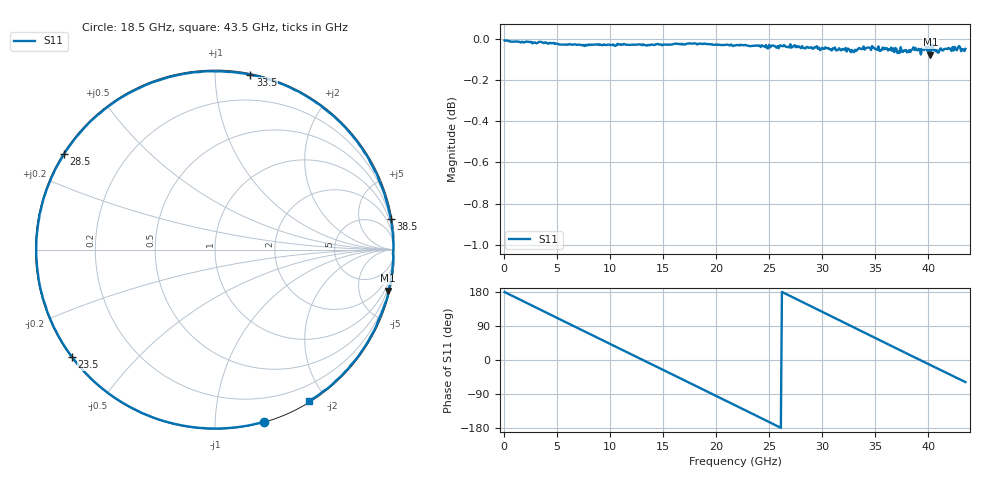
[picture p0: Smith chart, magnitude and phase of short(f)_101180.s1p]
# Hz S RI R 50.000000
! Metas.Vna.Data, 2.4.7734.25685
! Created: UTC 2023.03.21 14:20:05
! FREQ  re:S1,1  im:S1,1
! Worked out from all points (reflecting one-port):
!   436 points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, 50 MHz to 43.5 GHz, reference 50 ohm
!   lowest |S11| = -0.1 dB at 40.2 GHz (marker M1), VSWR 226.45, Z = 16.3 - j426 ohm
!   phase of S11 starts at 179 deg and turns -597 deg over the sweep
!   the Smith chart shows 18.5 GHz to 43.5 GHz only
!   S11 on the Smith chart (normalised r, x): 18.5 GHz: 0.00, -1.32; 23.5 GHz: 0.00, -0.33; 28.5 GHz: 0.00, +0.29; 33.5 GHz: 0.01, +1.22; 38.5 GHz: 0, +11; 43.5 GHz: 0.01, -1.80
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5e7  -0.9991 0.0129
2.5e9  -0.8221 0.566
4.1e9  -0.5491 0.8327
5.5e9  -0.2437 0.9666
6.8e9  0.0648 0.9947
8.1e9  0.3669 0.9265
9.5e9  0.6509 0.7549
1.1e10  0.875 0.4773
1.24e10  0.9833 0.1634
1.37e10  0.9858 -0.1459
1.5e10  0.8948 -0.4394
1.64e10  0.6998 -0.7106
1.85e10  0.2708 -0.9598
2.01e10  -0.1095 -0.9907
2.18e10  -0.4932 -0.8658
2.35e10  -0.7966 -0.5982
2.54e10  -0.9788 -0.1857
2.73e10  -0.9594 0.2677
2.85e10  -0.842 0.5309
3.07e10  -0.4558 0.8837
3.27e10  0.00501 0.9926
3.35e10  0.1964 0.9754
3.55e10  0.6249 0.7722
3.81e10  0.9573 0.2631
3.85e10  0.9793 0.1718
4.02e10  0.9644 -0.229
4.17e10  0.8259 -0.554
4.35e10  0.5243 -0.8451
